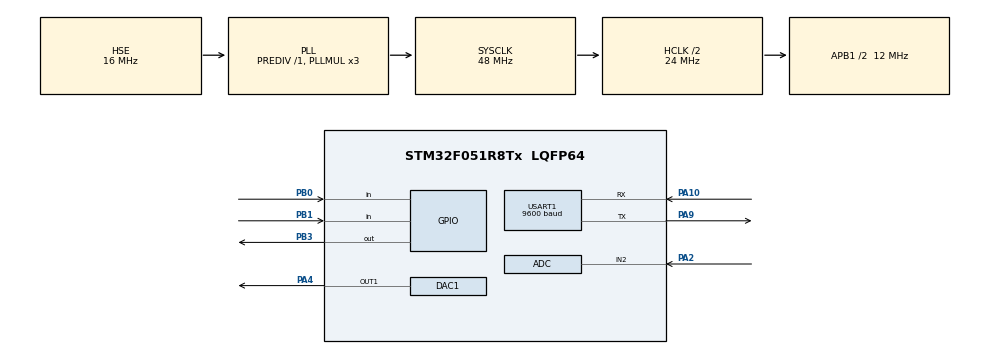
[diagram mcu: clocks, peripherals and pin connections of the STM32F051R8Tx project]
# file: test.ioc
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ADC.ContinuousConvMode=DISABLE
ADC.DMAContinuousRequests=ENABLE
ADC.ExternalTrigConv=ADC_EXTERNALTRIGCONV_T2_TRGO
ADC.Overrun=ADC_OVR_DATA_OVERWRITTEN
ADC.Resolution=ADC_RESOLUTION_12B
DAC1.DAC_Trigger=DAC_TRIGGER_T6_TRGO
Dma.ADC.2.Direction=DMA_PERIPH_TO_MEMORY
Dma.ADC.2.Instance=DMA1_Channel1
Dma.ADC.2.MemDataAlignment=DMA_MDATAALIGN_HALFWORD
Dma.ADC.2.MemInc=DMA_MINC_ENABLE
Dma.ADC.2.Mode=DMA_CIRCULAR
Dma.ADC.2.PeriphDataAlignment=DMA_PDATAALIGN_HALFWORD
Dma.ADC.2.PeriphInc=DMA_PINC_DISABLE
Dma.ADC.2.Priority=DMA_PRIORITY_HIGH
Dma.DAC1_CH1.0.Direction=DMA_MEMORY_TO_PERIPH
Dma.DAC1_CH1.0.Instance=DMA1_Channel3
Dma.DAC1_CH1.0.MemDataAlignment=DMA_MDATAALIGN_HALFWORD
Dma.DAC1_CH1.0.MemInc=DMA_MINC_ENABLE
Dma.DAC1_CH1.0.Mode=DMA_CIRCULAR
Dma.DAC1_CH1.0.PeriphDataAlignment=DMA_PDATAALIGN_HALFWORD
Dma.DAC1_CH1.0.PeriphInc=DMA_PINC_DISABLE
Dma.DAC1_CH1.0.Priority=DMA_PRIORITY_MEDIUM
Dma.Request0=DAC1_CH1
Dma.Request1=USART1_TX
Dma.Request2=ADC
Dma.USART1_TX.1.Direction=DMA_MEMORY_TO_PERIPH
Dma.USART1_TX.1.Instance=DMA1_Channel2
Dma.USART1_TX.1.MemDataAlignment=DMA_MDATAALIGN_BYTE
Dma.USART1_TX.1.MemInc=DMA_MINC_ENABLE
Dma.USART1_TX.1.Mode=DMA_NORMAL
Dma.USART1_TX.1.PeriphDataAlignment=DMA_PDATAALIGN_BYTE
Dma.USART1_TX.1.PeriphInc=DMA_PINC_DISABLE
Dma.USART1_TX.1.Priority=DMA_PRIORITY_LOW
Mcu.Family=STM32F0
Mcu.Name=STM32F051R8Tx
Mcu.Package=LQFP64
NVIC.DMA1_Channel1_IRQn=true\:0\:0\:false\:false\:true\:false\:true
NVIC.DMA1_Channel2_3_IRQn=true\:0\:0\:false\:false\:true\:false\:true
NVIC.TIM6_DAC_IRQn=true\:0\:0\:false\:false\:true\:true\:true
NVIC.USART1_IRQn=true\:0\:0\:false\:false\:true\:true\:true
PA10.Mode=Asynchronous
PA10.Signal=USART1_RX
PA13.Mode=Serial_Wire
PA13.Signal=SYS_SWDIO
PA14.Mode=Serial_Wire
PA14.Signal=SYS_SWCLK
PA2.Mode=IN2
PA2.Signal=ADC_IN2
PA4.Signal=COMP_DAC11_group
PA9.Mode=Asynchronous
PA9.Signal=USART1_TX
PB0.Signal=GPIO_Input
PB1.Signal=GPIO_Input
PB3.Signal=GPIO_Output
PF0-OSC_IN.Mode=HSE-External-Oscillator
PF0-OSC_IN.Signal=RCC_OSC_IN
PF1-OSC_OUT.Mode=HSE-External-Oscillator
PF1-OSC_OUT.Signal=RCC_OSC_OUT
ProjectManager.HeapSize=0x200
ProjectManager.StackSize=0x400
ProjectManager.TargetToolchain=MDK-ARM V5.27
RCC.AHBCLKDivider=RCC_SYSCLK_DIV2
RCC.AHBFreq_Value=24000000
RCC.APB1CLKDivider=RCC_HCLK_DIV2
RCC.APB1Freq_Value=12000000
RCC.APB1TimFreq_Value=24000000
RCC.HCLKFreq_Value=24000000
RCC.HSE_VALUE=16000000
RCC.PLLMUL=RCC_PLL_MUL3
RCC.PLLSourceVirtual=RCC_PLLSOURCE_HSE
RCC.SYSCLKFreq_VALUE=48000000
RCC.SYSCLKSource=RCC_SYSCLKSOURCE_PLLCLK
SH.COMP_DAC11_group.0=DAC1_OUT1,DAC_OUT1
TIM2.Period=2500
TIM2.TIM_MasterOutputTrigger=TIM_TRGO_UPDATE
TIM6.Period=625
TIM6.Prescaler=0
TIM6.TIM_MasterOutputTrigger=TIM_TRGO_UPDATE
USART1.BaudRate=9600
USART1.VirtualMode-Asynchronous=VM_ASYNC
VP_TIM2_VS_ClockSourceINT.Mode=Internal
VP_TIM6_VS_ClockSourceINT.Mode=Enable_Timer
board=custom

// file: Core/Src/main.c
/* USER CODE BEGIN Header */
/**
  ******************************************************************************
  * @file           : main.c
  * @brief          : Main program body
  ******************************************************************************
  * @attention
  *
  * <h2><center>&copy; Copyright (c) 2021 STMicroelectronics.
  * All rights reserved.</center></h2>
  *
  * This software component is licensed by ST under BSD 3-Clause license,
  * the "License"; You may not use this file except in compliance with the
  * License. You may obtain a copy of the License at:
  *                        opensource.org/licenses/BSD-3-Clause
  *
  ******************************************************************************
  */
/* USER CODE END Header */
#include "main.h"

/* USER CODE BEGIN Includes */
#include "fsk.h"
#include "uart.h"
#include "bit_decode.h"
#include "ByteFifo.h"
#include "get_command.h"
#include "flash.h"
#include "gpio_rw.h"
/* USER CODE END Includes */

ADC_HandleTypeDef hadc;
DMA_HandleTypeDef hdma_adc;

DAC_HandleTypeDef hdac1;
DMA_HandleTypeDef hdma_dac1_ch1;

TIM_HandleTypeDef htim2;
TIM_HandleTypeDef htim6;

UART_HandleTypeDef huart1;
DMA_HandleTypeDef hdma_usart1_tx;

/* USER CODE BEGIN PV */
uint32_t jj;
extern ByteFifo bit_fifo_dac;
extern uint8_t recv_buff[1024];

/* USER CODE END PV */

void SystemClock_Config(void);
static void MX_GPIO_Init(void);
static void MX_DMA_Init(void);
static void MX_DAC1_Init(void);
static void MX_TIM6_Init(void);
static void MX_USART1_UART_Init(void);
static void MX_ADC_Init(void);
static void MX_TIM2_Init(void);

int main(void)
{

  /* MCU Configuration--------------------------------------------------------*/

  /* Reset of all peripherals, Initializes the Flash interface and the Systick. */
  HAL_Init();

  /* Configure the system clock */
  SystemClock_Config();

  /* Initialize all configured peripherals */
  MX_GPIO_Init();
  MX_DMA_Init();
  MX_DAC1_Init();
  MX_TIM6_Init();
  MX_USART1_UART_Init();
  MX_ADC_Init();
  MX_TIM2_Init();
  /* USER CODE BEGIN 2 */
	FSK_Init();
	FlashInit();
	ReadMode();
	Uart1_Start_Receive();

  /* USER CODE END 2 */

  /* Infinite loop */
  /* USER CODE BEGIN WHILE */
  while (1)
  {
		GetBitPacket();
		DecodeBits();
		jj++;
		RecognizeCommand();
    /* USER CODE END WHILE */

  }
}

void SystemClock_Config(void)
{
  RCC_OscInitTypeDef RCC_OscInitStruct = {0};
  RCC_ClkInitTypeDef RCC_ClkInitStruct = {0};
  RCC_PeriphCLKInitTypeDef PeriphClkInit = {0};

  /** Initializes the RCC Oscillators according to the specified parameters
  * in the RCC_OscInitTypeDef structure.
  */
  RCC_OscInitStruct.OscillatorType = RCC_OSCILLATORTYPE_HSI14|RCC_OSCILLATORTYPE_HSE;
  RCC_OscInitStruct.HSEState = RCC_HSE_ON;
  RCC_OscInitStruct.HSI14State = RCC_HSI14_ON;
  RCC_OscInitStruct.HSI14CalibrationValue = 16;
  RCC_OscInitStruct.PLL.PLLState = RCC_PLL_ON;
  RCC_OscInitStruct.PLL.PLLSource = RCC_PLLSOURCE_HSE;
  RCC_OscInitStruct.PLL.PLLMUL = RCC_PLL_MUL3;
  RCC_OscInitStruct.PLL.PREDIV = RCC_PREDIV_DIV1;
  if (HAL_RCC_OscConfig(&RCC_OscInitStruct) != HAL_OK)
  {
    Error_Handler();
  }
  /** Initializes the CPU, AHB and APB buses clocks
  */
  RCC_ClkInitStruct.ClockType = RCC_CLOCKTYPE_HCLK|RCC_CLOCKTYPE_SYSCLK
                              |RCC_CLOCKTYPE_PCLK1;
  RCC_ClkInitStruct.SYSCLKSource = RCC_SYSCLKSOURCE_PLLCLK;
  RCC_ClkInitStruct.AHBCLKDivider = RCC_SYSCLK_DIV2;
  RCC_ClkInitStruct.APB1CLKDivider = RCC_HCLK_DIV2;

  if (HAL_RCC_ClockConfig(&RCC_ClkInitStruct, FLASH_LATENCY_1) != HAL_OK)
  {
    Error_Handler();
  }
  PeriphClkInit.PeriphClockSelection = RCC_PERIPHCLK_USART1;
  PeriphClkInit.Usart1ClockSelection = RCC_USART1CLKSOURCE_PCLK1;
  if (HAL_RCCEx_PeriphCLKConfig(&PeriphClkInit) != HAL_OK)
  {
    Error_Handler();
  }
}

static void MX_ADC_Init(void)
{

  ADC_ChannelConfTypeDef sConfig = {0};

  /** Configure the global features of the ADC (Clock, Resolution, Data Alignment and number of conversion)
  */
  hadc.Instance = ADC1;
  hadc.Init.ClockPrescaler = ADC_CLOCK_ASYNC_DIV1;
  hadc.Init.Resolution = ADC_RESOLUTION_12B;
  hadc.Init.DataAlign = ADC_DATAALIGN_RIGHT;
  hadc.Init.ScanConvMode = ADC_SCAN_DIRECTION_FORWARD;
  hadc.Init.EOCSelection = ADC_EOC_SINGLE_CONV;
  hadc.Init.LowPowerAutoWait = DISABLE;
  hadc.Init.LowPowerAutoPowerOff = DISABLE;
  hadc.Init.ContinuousConvMode = DISABLE;
  hadc.Init.DiscontinuousConvMode = DISABLE;
  hadc.Init.ExternalTrigConv = ADC_EXTERNALTRIGCONV_T2_TRGO;
  hadc.Init.ExternalTrigConvEdge = ADC_EXTERNALTRIGCONVEDGE_RISING;
  hadc.Init.DMAContinuousRequests = ENABLE;
  hadc.Init.Overrun = ADC_OVR_DATA_OVERWRITTEN;
  if (HAL_ADC_Init(&hadc) != HAL_OK)
  {
    Error_Handler();
  }
  /** Configure for the selected ADC regular channel to be converted.
  */
  sConfig.Channel = ADC_CHANNEL_2;
  sConfig.Rank = ADC_RANK_CHANNEL_NUMBER;
  sConfig.SamplingTime = ADC_SAMPLETIME_239CYCLES_5;
  if (HAL_ADC_ConfigChannel(&hadc, &sConfig) != HAL_OK)
  {
    Error_Handler();
  }

}

static void MX_DAC1_Init(void)
{

  DAC_ChannelConfTypeDef sConfig = {0};

  /** DAC Initialization
  */
  hdac1.Instance = DAC;
  if (HAL_DAC_Init(&hdac1) != HAL_OK)
  {
    Error_Handler();
  }
  /** DAC channel OUT1 config
  */
  sConfig.DAC_Trigger = DAC_TRIGGER_T6_TRGO;
  sConfig.DAC_OutputBuffer = DAC_OUTPUTBUFFER_ENABLE;
  if (HAL_DAC_ConfigChannel(&hdac1, &sConfig, DAC_CHANNEL_1) != HAL_OK)
  {
    Error_Handler();
  }

}

static void MX_TIM2_Init(void)
{

  TIM_ClockConfigTypeDef sClockSourceConfig = {0};
  TIM_MasterConfigTypeDef sMasterConfig = {0};

  htim2.Instance = TIM2;
  htim2.Init.Prescaler = 0;
  htim2.Init.CounterMode = TIM_COUNTERMODE_UP;
  htim2.Init.Period = 2500;
  htim2.Init.ClockDivision = TIM_CLOCKDIVISION_DIV1;
  htim2.Init.AutoReloadPreload = TIM_AUTORELOAD_PRELOAD_DISABLE;
  if (HAL_TIM_Base_Init(&htim2) != HAL_OK)
  {
    Error_Handler();
  }
  sClockSourceConfig.ClockSource = TIM_CLOCKSOURCE_INTERNAL;
  if (HAL_TIM_ConfigClockSource(&htim2, &sClockSourceConfig) != HAL_OK)
  {
    Error_Handler();
  }
  sMasterConfig.MasterOutputTrigger = TIM_TRGO_UPDATE;
  sMasterConfig.MasterSlaveMode = TIM_MASTERSLAVEMODE_DISABLE;
  if (HAL_TIMEx_MasterConfigSynchronization(&htim2, &sMasterConfig) != HAL_OK)
  {
    Error_Handler();
  }

}

static void MX_TIM6_Init(void)
{

  TIM_MasterConfigTypeDef sMasterConfig = {0};

  htim6.Instance = TIM6;
  htim6.Init.Prescaler = 0;
  htim6.Init.CounterMode = TIM_COUNTERMODE_UP;
  htim6.Init.Period = 625;
  htim6.Init.AutoReloadPreload = TIM_AUTORELOAD_PRELOAD_DISABLE;
  if (HAL_TIM_Base_Init(&htim6) != HAL_OK)
  {
    Error_Handler();
  }
  sMasterConfig.MasterOutputTrigger = TIM_TRGO_UPDATE;
  sMasterConfig.MasterSlaveMode = TIM_MASTERSLAVEMODE_DISABLE;
  if (HAL_TIMEx_MasterConfigSynchronization(&htim6, &sMasterConfig) != HAL_OK)
  {
    Error_Handler();
  }

}

static void MX_USART1_UART_Init(void)
{

  huart1.Instance = USART1;
  huart1.Init.BaudRate = 9600;
  huart1.Init.WordLength = UART_WORDLENGTH_8B;
  huart1.Init.StopBits = UART_STOPBITS_1;
  huart1.Init.Parity = UART_PARITY_NONE;
  huart1.Init.Mode = UART_MODE_TX_RX;
  huart1.Init.HwFlowCtl = UART_HWCONTROL_NONE;
  huart1.Init.OverSampling = UART_OVERSAMPLING_16;
  huart1.Init.OneBitSampling = UART_ONE_BIT_SAMPLE_DISABLE;
  huart1.AdvancedInit.AdvFeatureInit = UART_ADVFEATURE_NO_INIT;
  if (HAL_UART_Init(&huart1) != HAL_OK)
  {
    Error_Handler();
  }

}

static void MX_DMA_Init(void)
{

  /* DMA controller clock enable */
  __HAL_RCC_DMA1_CLK_ENABLE();

  /* DMA interrupt init */
  /* DMA1_Channel1_IRQn interrupt configuration */
  HAL_NVIC_SetPriority(DMA1_Channel1_IRQn, 0, 0);
  HAL_NVIC_EnableIRQ(DMA1_Channel1_IRQn);
  /* DMA1_Channel2_3_IRQn interrupt configuration */
  HAL_NVIC_SetPriority(DMA1_Channel2_3_IRQn, 0, 0);
  HAL_NVIC_EnableIRQ(DMA1_Channel2_3_IRQn);

}

static void MX_GPIO_Init(void)
{
  GPIO_InitTypeDef GPIO_InitStruct = {0};

  /* GPIO Ports Clock Enable */
  __HAL_RCC_GPIOF_CLK_ENABLE();
  __HAL_RCC_GPIOA_CLK_ENABLE();
  __HAL_RCC_GPIOB_CLK_ENABLE();

  /*Configure GPIO pin Output Level */
  HAL_GPIO_WritePin(GPIOB, GPIO_PIN_3, GPIO_PIN_RESET);

  /*Configure GPIO pins : PB0 PB1 */
  GPIO_InitStruct.Pin = GPIO_PIN_0|GPIO_PIN_1;
  GPIO_InitStruct.Mode = GPIO_MODE_INPUT;
  GPIO_InitStruct.Pull = GPIO_NOPULL;
  HAL_GPIO_Init(GPIOB, &GPIO_InitStruct);

  /*Configure GPIO pin : PB3 */
  GPIO_InitStruct.Pin = GPIO_PIN_3;
  GPIO_InitStruct.Mode = GPIO_MODE_OUTPUT_PP;
  GPIO_InitStruct.Pull = GPIO_NOPULL;
  GPIO_InitStruct.Speed = GPIO_SPEED_FREQ_LOW;
  HAL_GPIO_Init(GPIOB, &GPIO_InitStruct);

}

void Error_Handler(void)
{
  __disable_irq();
  while (1)
  {
  }
}

/************************ (C) COPYRIGHT STMicroelectronics *****END OF FILE****/
